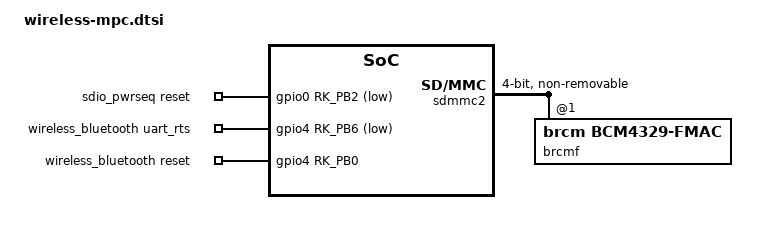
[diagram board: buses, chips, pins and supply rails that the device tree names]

/ {

	sdio_pwrseq: sdio-pwrseq {
		compatible = "mmc-pwrseq-simple";
		clocks = <&rtc_clock>; // <----------------------------------!!!
		clock-names = "ext_clock"; // <----------------------------------!!!
		pinctrl-names = "default";
		pinctrl-0 = <&wlan_en_pin>;

		// WLAN_EN
		reset-gpios = <&gpio0 RK_PB2 GPIO_ACTIVE_LOW>;
	};

	// A1
	wireless_wlan: wireless-wlan {
		compatible = "wlan-platdata";
		rockchip,grf = <&grf>;
		wifi_chip_type = "ap6398s"; // <----------------------------------!!!
/*
		This signal is absent on the board

		pinctrl-names = "default";
		pinctrl-0 = <&wifi_host_wake_irq>;
		WIFI,host_wake_irq = <&gpio3 RK_PD4 GPIO_ACTIVE_HIGH>;
*/
		status = "okay";
	};

    // A1
	wireless_bluetooth: wireless-bluetooth {
		compatible = "bluetooth-platdata";
		// This chip is clocked form D24 via WiFi_32KHZ signal
		clocks = <&rtc_clock>;  // <----------------------------------!!!
		clock-names = "ext_clock";    // <----------------------------------!!!
		//wifi-bt-power-toggle;

		// UART1_RTS
		uart_rts_gpios = <&gpio4 RK_PB6 GPIO_ACTIVE_LOW>;
		pinctrl-names = "default", "rts_gpio";
		pinctrl-0 = <&uart1m1_rtsn>;
		pinctrl-1 = <&uart1_gpios>;

		// BT_EN
		BT,reset_gpio    = <&gpio4 RK_PB0 GPIO_ACTIVE_HIGH>;
/*
		This signala are absent on the board

		BT,wake_gpio     = <&gpio3 RK_PA1 GPIO_ACTIVE_HIGH>;
		BT,wake_host_irq = <&gpio3 RK_PA2 GPIO_ACTIVE_HIGH>;
*/		
		status = "okay";
	};
};

&sdmmc2 {
	/* WiFi & BT combo module Fn-Link 8223A-SR */
	#address-cells = <1>;
	#size-cells = <0>;
	bus-width = <4>;
	clock-frequency = <150000000>;
	cap-sdio-irq;
	cap-sd-highspeed;
	keep-power-in-suspend;
	mmc-pwrseq = <&sdio_pwrseq>; // <------------------------------------!!!
	non-removable;
	pinctrl-names = "default";
	pinctrl-0 = <&sdmmc2m0_bus4 &sdmmc2m0_clk &sdmmc2m0_cmd>;
	sd-uhs-sdr104;
	status = "okay";

	brcmf: wifi@0 {
		compatible = "brcm,bcm4329-fmac"; // <------------------------------------!!!
		reg = <1>;
/*
		This signal is absent on the board

		interrupt-parent = <&gpio3>;
		interrupts = <RK_PD4 GPIO_ACTIVE_HIGH>;
		interrupt-names = "host-wake";
		pinctrl-names = "default";
		pinctrl-0 = <&wifi_host_wake_irq>;
*/
	};
};

&pinctrl {
	sdio-pwrseq {
/*
		WLAN_EN is pulled down to GND via R237(10K)
*/
		wlan_en_pin: wlan-en-pin {
			rockchip,pins = <4 RK_PA7 RK_FUNC_GPIO &pcfg_pull_none>;
		};
	};
/*
	This signal is absent on the board

	wireless-wlan {
		wifi_host_wake_irq: wifi-host-wake-irq {
			rockchip,pins = <3 RK_PD4 RK_FUNC_GPIO &pcfg_pull_down>;
		};
	};
*/
	wireless-bluetooth {
		// UART1_RTS
		uart1_gpios: uart1-gpios {
			rockchip,pins = <4 RK_PB6 RK_FUNC_GPIO &pcfg_pull_none>;
		};
/*
		BT_EN is pulled down to GND via R238(10K)
*/        
        bt_en_pin: bt-en-pin {
			rockchip,pins = <4 RK_PB0 RK_FUNC_GPIO &pcfg_pull_none>;
		};
	};
};
